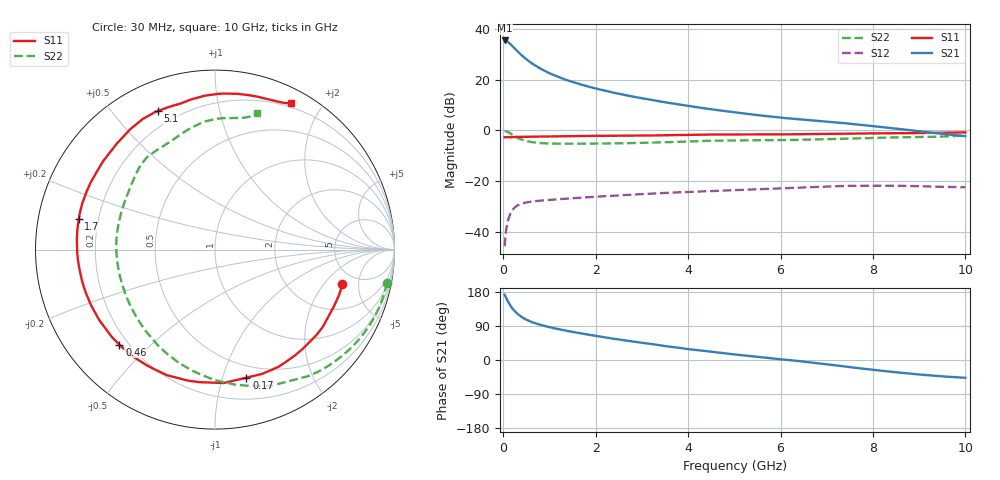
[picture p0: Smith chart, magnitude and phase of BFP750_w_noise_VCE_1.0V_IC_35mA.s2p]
! Infineon Technologies  Discrete & RF Semiconductors
! BFP750
! VCE =  1.0 V,  IC =  35 mA
! Common Emitter S-Parameters:  Jan 2016
# GHz  S  MA  R  50
!  f  S11  S21  S12  S22
! GHz  MAG  ANG  MAG  ANG  MAG  ANG  MAG  ANG
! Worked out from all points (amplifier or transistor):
!   229 points, 30 MHz to 10 GHz, reference 50 ohm
!   highest |S21| = 35.4 dB at 30 MHz (marker M1)
!   |S21| within 3 dB of that: start of sweep to 240 MHz
!   unconditionally stable (mu >= 1): 4.143 GHz to end of sweep
!   at 280 MHz: K = 0.14, MSG = 30.8 dB, |S12| = -29.9 dB
!   at 1.78 GHz: K = 0.64, MSG = 21.9 dB, |S12| = -26.3 dB
!   at 10 GHz: K = 1.11, MAG = 8.0 dB, |S12| = -22.4 dB
!   lowest NFmin = 0.89 dB at 450 MHz
!   S11 on the Smith chart (normalised r, x): 30 MHz: 3.76, -3.19; 170 MHz: 0.39, -1.20; 460 MHz: 0.17, -0.40; 1.7 GHz: 0.13, +0.11; 5.1 GHz: 0.13, +0.66; 10 GHz: 0.16, +1.64
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0.03  0.7364 -15.3  58.94 172.5  0.0053 82.4  0.9763 -11.0
0.05  0.7343 -25.6  58.62 166.8  0.0086 77.5  0.9712 -18.7
0.07  0.7387 -35.6  57.42 161.9  0.0121 74.4  0.9585 -26.2
0.1  0.7382 -49.0  55.13 155.1  0.0165 67.8  0.932 -36.9
0.14  0.7406 -65.3  51.37 146.6  0.0215 60.1  0.8892 -50.1
0.17  0.7346 -76.2  48.33 141.3  0.0244 55.0  0.849 -58.6
0.2  0.745 -86.3  45.44 135.7  0.0273 50.8  0.8213 -67.4
0.24  0.7437 -96.8  41.72 130.2  0.0299 46.0  0.778 -77.0
0.3  0.7493 -110.9  36.68 122.5  0.0332 40.2  0.7272 -90.2
0.4  0.7506 -127.6  30.01 113.2  0.0364 33.3  0.6632 -107.4
0.46  0.7511 -135.2  26.92 108.9  0.0378 30.4  0.6359 -115.6
0.6  0.7552 -148.7  21.46 101.0  0.0398 25.7  0.5949 -130.9
0.82  0.7591 -162.7  16.17 92.2  0.0418 21.7  0.5642 -147.5
1  0.7625 -171.0  13.36 86.5  0.0431 19.9  0.5541 -157.3
1.2  0.7678 -178.4  11.2 81.2  0.0445 18.5  0.5497 -165.8
1.7  0.7782 167.5  7.927 69.9  0.0478 16.6  0.5502 179.0
2.4  0.7872 152.3  5.508 55.9  0.0522 14.1  0.5576 162.9
3.4  0.8018 134.3  3.72 38.7  0.0586 9.9  0.5822 145.2
5.1  0.8353 112.3  2.218 13.5  0.0676 1.6  0.6391 125.2
6.8  0.8537 95.8  1.549 -8.4  0.0779 -8.7  0.6675 107.2
8.4  0.8816 77.0  1.111 -31.1  0.0819 -23.2  0.7284 89.5
10  0.918 62.5  0.774 -46.9  0.0762 -33.8  0.7936 72.9
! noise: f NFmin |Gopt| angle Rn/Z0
0.45  0.89  0.14  -166  0.37
0.9  0.91  0.19  -160  0.17
1.5  0.92  0.25  -158  0.08
1.9  0.94  0.27  -153  0.07
2.4  0.96  0.29  -147  0.09
3.5  1.19  0.33  -132  0.08
